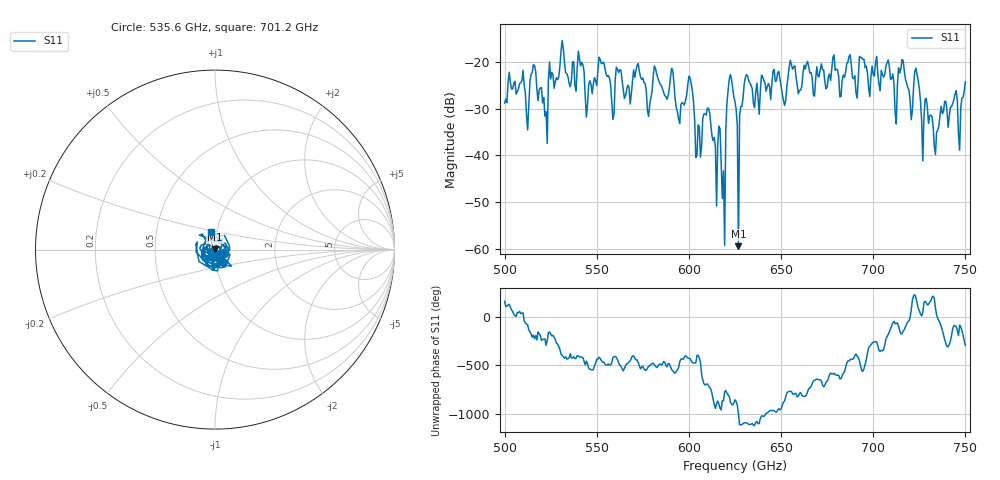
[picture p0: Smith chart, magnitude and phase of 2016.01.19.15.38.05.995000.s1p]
!Created with skrf (http://scikit-rf.org).
# GHz S RI R 50.0
!freq ReS11 ImS11
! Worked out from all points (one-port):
!   401 points, 500 GHz to 750 GHz, reference 50 ohm
!   lowest |S11| = -59.5 dB at 626.9 GHz (marker M1), VSWR 1.00, Z = 50 + j0.105 ohm
!   |S11| at or under -10 dB: start of sweep to end of sweep
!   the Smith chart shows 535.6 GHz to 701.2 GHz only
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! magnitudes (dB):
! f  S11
! 500 GHz  -28.8
! 512.5 GHz  -34.6
! 515.6 GHz  -20.6
! 521.9 GHz  -31.6
! 531.2 GHz  -15.4
! 545 GHz  -29.1
! 552.5 GHz  -20.4
! 558.1 GHz  -28.4
! 562.5 GHz  -21.7
! 578.1 GHz  -31.7
! 590.6 GHz  -21.4
! 593.8 GHz  -30.7
! 600.6 GHz  -23.4
! 605 GHz  -33.5
! 610 GHz  -29.9
! 618.8 GHz  -43.3
! 621.9 GHz  -23.7
! 625 GHz  -28.5
! 626.9 GHz  -59.5
! 631.2 GHz  -22.7
! 651.9 GHz  -29.3
! 656.2 GHz  -21.6
! 687.5 GHz  -18.5
! 718.8 GHz  -25.5
! 723.8 GHz  -22.6
! 726.2 GHz  -32.4
! 733.8 GHz  -39.8
! 750 GHz  -24.2
